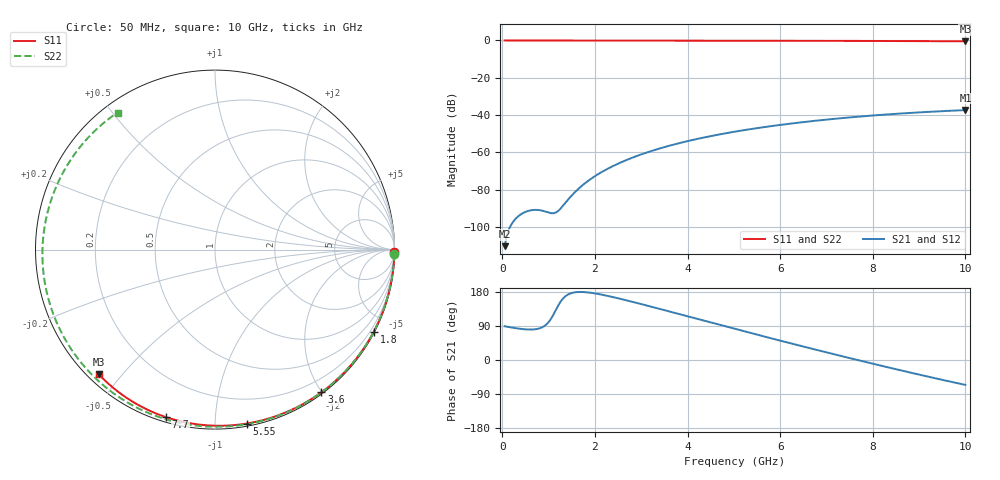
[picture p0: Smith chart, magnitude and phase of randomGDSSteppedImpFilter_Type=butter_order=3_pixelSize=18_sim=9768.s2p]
! freq	dB(S11)	phase(S11)	dB(S12)	phase(S12)
!  dB(S21)	phase(S21)	dB(S22)	phase(S22)
!S-par simulation data
#  GHz  S  DB  R 50
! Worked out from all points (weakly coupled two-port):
!   200 points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, 50 MHz to 10 GHz, reference 50 ohm
!   highest |S21| = -37.30 dB at 10 GHz (marker M1); lowest = -110.2 dB at 50 MHz (marker M2)
!   lowest |S11| = -0.4 dB at 10 GHz (marker M3), VSWR 38.65, Z = 1.54 - j21.7 ohm
!   |S11| at or under -10 dB: nowhere
!   |S22| runs from -0.6 to 0.0 dB; largest |S21 - S12| = 0
!   S11 on the Smith chart (normalised r, x): 50 MHz: open; 1.8 GHz: 0.04, -4.12; 3.6 GHz: 0.02, -1.99; 5.55 GHz: 0.02, -1.20; 7.7 GHz: 0.02, -0.75; 10 GHz: 0.03, -0.43
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0.05  -0.00 -0.8  -110.17 89.1  -110.17 89.1  -0.00 -1.5
0.4  -0.01 -6.1  -93.13 82.1  -93.13 82.1  -0.02 -11.8
0.8  -0.02 -12.2  -90.87 83.4  -90.87 83.4  -0.03 -23.4
1.2  -0.02 -18.3  -91.46 142.1  -91.46 142.1  -0.04 -34.8
1.6  -0.03 -24.3  -80.47 179.1  -80.47 179.1  -0.06 -46.0
1.75  -0.03 -26.5  -77.18 179.4  -77.18 179.4  -0.06 -50.2
1.8  -0.03 -27.3  -76.19 178.9  -76.19 178.9  -0.06 -51.5
2.1  -0.04 -31.7  -71.15 173.6  -71.15 173.6  -0.07 -59.6
2.5  -0.05 -37.6  -65.99 162.9  -65.99 162.9  -0.09 -70.1
2.9  -0.06 -43.4  -61.93 150.7  -61.93 150.7  -0.10 -80.3
3.4  -0.07 -50.5  -57.84 134.8  -57.84 134.8  -0.12 -92.5
3.6  -0.07 -53.3  -56.43 128.3  -56.43 128.3  -0.12 -97.3
4.3  -0.09 -63.0  -52.25 105.5  -52.25 105.5  -0.15 -113.4
5.05  -0.11 -73.1  -48.73 81.2  -48.73 81.2  -0.18 -129.8
5.55  -0.13 -79.6  -46.78 65.3  -46.78 65.3  -0.21 -140.3
6.15  -0.15 -87.3  -44.76 46.4  -44.76 46.4  -0.25 -152.7
6.7  -0.18 -94.2  -43.17 29.4  -43.17 29.4  -0.28 -163.9
7.2  -0.21 -100.3  -41.90 14.1  -41.90 14.1  -0.32 -174.1
7.7  -0.24 -106.3  -40.79 -0.9  -40.79 -0.9  -0.36 175.6
8.35  -0.29 -114.0  -39.55 -20.0  -39.55 -20.0  -0.42 162.1
9.15  -0.36 -123.3  -38.31 -42.7  -38.31 -42.7  -0.49 144.8
10  -0.45 -133.1  -37.30 -65.7  -37.30 -65.7  -0.57 125.4
